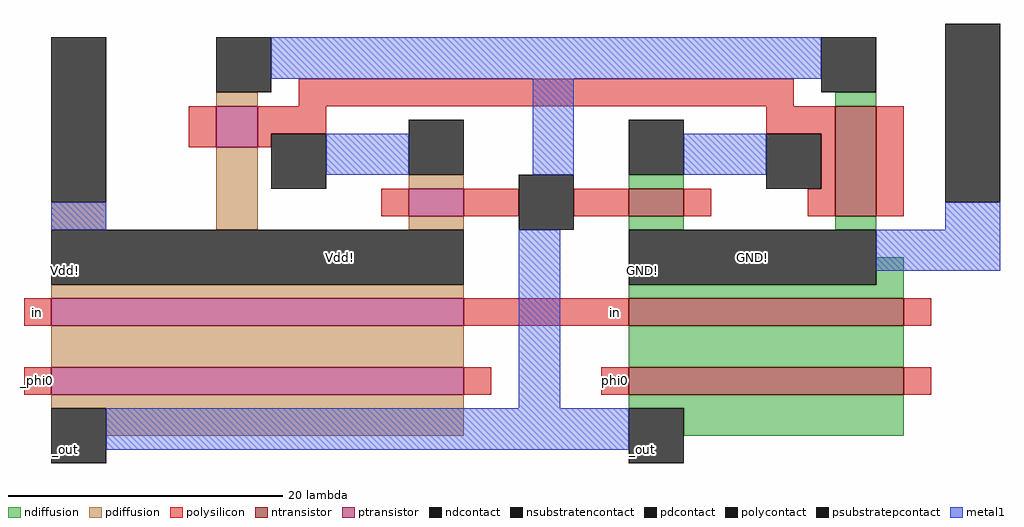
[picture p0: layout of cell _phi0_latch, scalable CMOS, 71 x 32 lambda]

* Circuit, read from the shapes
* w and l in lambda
.subckt _phi0_latch GND! Vdd! _out _phi0 in phi0
M1 n1 phi0 _out GND! nfet w=20 l=2
M2 GND! in n1 GND! nfet w=20 l=2
M3 n2 _out GND! GND! nfet w=4 l=2
M4 _out n2 GND! GND! nfet w=3 l=8
M5 n3 _phi0 _out Vdd! pfet w=30 l=2
M6 Vdd! in n3 Vdd! pfet w=30 l=2
M7 _out n2 Vdd! Vdd! pfet w=3 l=3
M8 n2 _out Vdd! Vdd! pfet w=4 l=2
.ends

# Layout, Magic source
magic
tech scmos
<< ntransistor >>
rect 24 7 28 9
rect 39 7 42 15
rect 24 -1 44 1
rect 24 -6 44 -4
<< ptransistor >>
rect -6 12 -3 15
rect 8 7 12 9
rect -18 -1 12 1
rect -18 -6 12 -4
<< ndiffusion >>
rect 39 15 42 16
rect 24 9 28 10
rect 24 6 28 7
rect 39 6 42 7
rect 42 2 44 4
rect 24 1 44 2
rect 24 -4 44 -1
rect 24 -7 44 -6
rect 28 -9 44 -7
<< pdiffusion >>
rect -6 15 -3 16
rect -18 6 -14 8
rect -6 6 -3 12
rect 8 9 12 10
rect 8 6 12 7
rect -18 1 12 2
rect -18 -4 12 -1
rect -18 -7 12 -6
rect -14 -9 12 -7
<< ndcontact >>
rect 38 16 42 20
rect 24 10 28 14
rect 24 2 42 6
rect 24 -11 28 -7
<< pdcontact >>
rect -6 16 -2 20
rect 8 10 12 14
rect -18 2 12 6
rect -18 -11 -14 -7
<< psubstratepcontact >>
rect 47 8 51 21
<< nsubstratencontact >>
rect -18 8 -14 20
<< polysilicon >>
rect 0 15 36 17
rect -8 12 -6 15
rect -3 13 2 15
rect -3 12 -2 13
rect 6 7 8 9
rect 12 7 16 9
rect 34 13 39 15
rect 38 9 39 13
rect 20 7 24 9
rect 28 7 30 9
rect 37 7 39 9
rect 42 7 44 15
rect -20 -1 -18 1
rect 12 -1 24 1
rect 44 -1 46 1
rect -20 -6 -18 -4
rect 12 -6 14 -4
rect 22 -6 24 -4
rect 44 -6 46 -4
<< polycontact >>
rect -2 9 2 13
rect 16 6 20 10
rect 34 9 38 13
<< metal1 >>
rect -2 17 38 20
rect 2 10 8 13
rect 17 10 20 17
rect 28 10 34 13
rect -18 6 -14 8
rect 47 6 51 8
rect 16 -7 19 6
rect 42 3 51 6
rect -14 -10 24 -7
<< labels >>
rlabel pdcontact -17 -10 -17 -10 1 _out
rlabel polysilicon -19 -5 -19 -5 1 _phi0
rlabel polysilicon -19 0 -19 0 1 in
rlabel pdcontact -17 3 -17 3 1 Vdd!
rlabel ndcontact 25 -10 25 -10 1 _out
rlabel polysilicon 23 -5 23 -5 1 phi0
rlabel polysilicon 23 0 23 0 1 in
rlabel pdcontact 3 4 3 4 1 Vdd!
rlabel ndcontact 33 4 33 4 1 GND!
rlabel ndcontact 25 3 25 3 1 GND!
<< end >>
